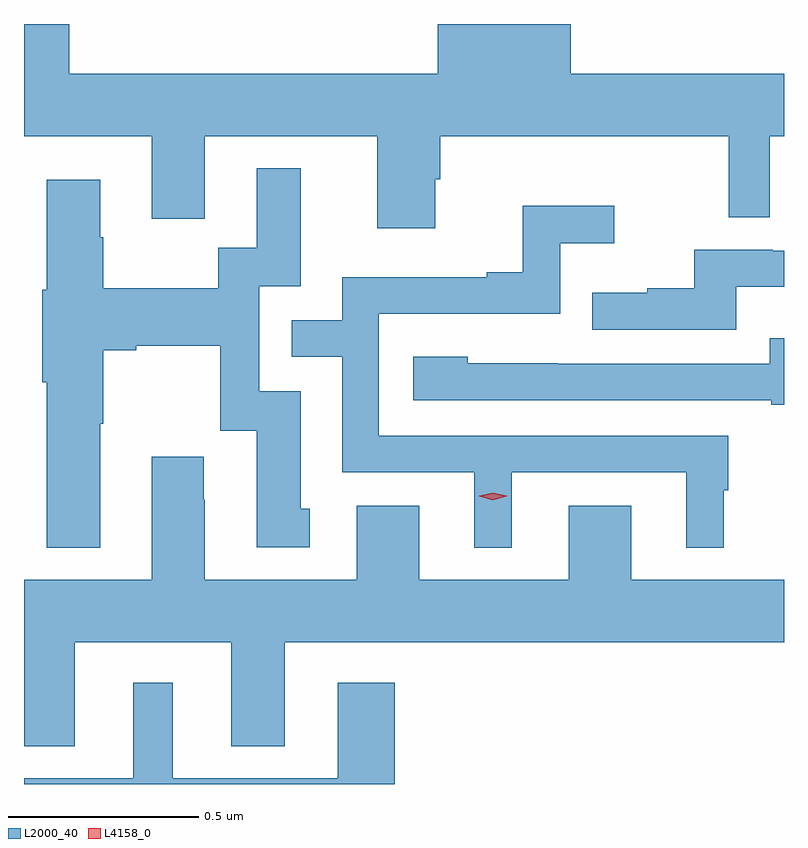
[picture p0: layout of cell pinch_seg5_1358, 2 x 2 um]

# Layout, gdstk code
import gdstk
lib = gdstk.Library(unit=1e-6, precision=1e-09)
def P(c, l, *ps):  # polygons
    for p in ps: c.add(gdstk.Polygon(p, *l))
L2000_40 = (2000, 40)
L4158_0 = (4158, 0)

pinch_seg5_1358 = lib.new_cell('pinch_seg5_1358')
P(pinch_seg5_1358, L2000_40, [(319.855,912.591),(319.868,912.591),(319.868,912.704),(320.628,912.704),(320.628,912.49),(320.736,912.49),(320.736,912.704),(320.773,912.704),(320.773,912.868),(320.212,912.868),(320.212,912.999),(319.862,912.999),(319.862,912.868),(318.892,912.868),(318.892,912.999),(318.773,912.999),(318.773,912.704),(319.109,912.704),(319.109,912.486),(319.249,912.486),(319.249,912.704),(319.703,912.704),(319.703,912.462),(319.855,912.462)],
  [(318.973,911.947),(318.981,911.947),(318.981,912.14),(319.069,912.14),(319.069,912.152),(319.289,912.152),(319.289,911.928),(319.385,911.928),(319.385,911.622),(319.525,911.622),(319.525,911.724),(319.501,911.724),(319.501,912.033),(319.392,912.033),(319.392,912.309),(319.501,912.309),(319.501,912.619),(319.385,912.619),(319.385,912.41),(319.284,912.41),(319.284,912.304),(318.981,912.304),(318.981,912.438),(318.973,912.438),(318.973,912.589),(318.833,912.589),(318.833,912.3),(318.821,912.3),(318.821,912.056),(318.833,912.056),(318.833,911.621),(318.973,911.621)],
  [(320.056,911.82),(320.516,911.82),(320.516,911.621),(320.614,911.621),(320.614,911.772),(320.626,911.772),(320.626,911.916),(319.707,911.916),(319.707,912.237),(320.184,912.237),(320.184,912.422),(320.326,912.422),(320.326,912.521),(320.086,912.521),(320.086,912.346),(319.991,912.346),(319.991,912.333),(319.611,912.333),(319.611,912.219),(319.477,912.219),(319.477,912.123),(319.611,912.123),(319.611,911.82),(319.958,911.82),(319.958,911.621),(320.056,911.621)],
  [(320.647,912.308),(320.773,912.308),(320.773,912.402),(320.744,912.402),(320.744,912.405),(320.537,912.405),(320.537,912.304),(320.413,912.304),(320.413,912.292),(320.269,912.292),(320.269,912.195),(320.647,912.195)],
  [(320.773,912.172),(320.735,912.172),(320.735,912.105),(320.177,912.105),(320.177,912.106),(319.941,912.106),(319.941,912.124),(319.797,912.124),(319.797,912.009),(320.739,912.009),(320.739,911.997),(320.773,911.997)],
  [(320.773,911.536),(320.371,911.536),(320.371,911.731),(320.207,911.731),(320.207,911.536),(319.813,911.536),(319.813,911.731),(319.649,911.731),(319.649,911.536),(319.249,911.536),(319.249,911.747),(319.246,911.747),(319.246,911.86),(319.109,911.86),(319.109,911.536),(318.773,911.536),(318.773,911.099),(318.907,911.099),(318.907,911.372),(319.319,911.372),(319.319,911.099),(319.459,911.099),(319.459,911.372),(320.773,911.372)],
  [(319.748,911.266),(319.598,911.266),(319.598,911.014),(319.165,911.014),(319.165,911.266),(319.061,911.266),(319.061,911.014),(318.773,911.014),(318.773,910.999),(319.748,910.999)])
P(pinch_seg5_1358, L4158_0, [(320.007,911.746),(319.971,911.756),(319.971,911.756),(319.971,911.757),(320.007,911.766),(320.043,911.757),(320.043,911.756),(320.043,911.756)])

lib.write_gds('pinch_seg5_1358.gds')
